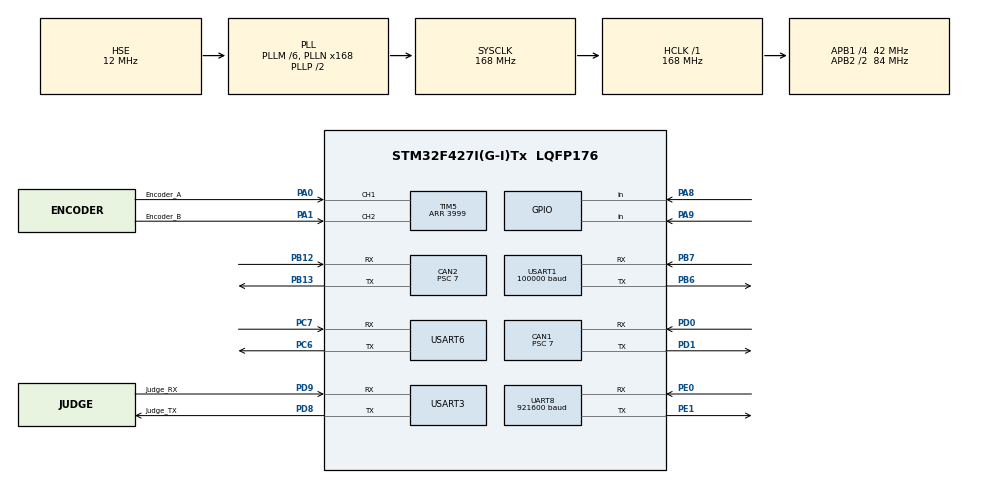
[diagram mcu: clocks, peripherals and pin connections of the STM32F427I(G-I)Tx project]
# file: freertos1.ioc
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CAN1.ABOM=ENABLE
CAN1.AWUM=ENABLE
CAN1.BS1=CAN_BS1_3TQ
CAN1.BS2=CAN_BS2_2TQ
CAN1.CalculateTimeQuantum=166.66666666666669
CAN1.NART=ENABLE
CAN1.Prescaler=7
CAN2.ABOM=ENABLE
CAN2.AWUM=ENABLE
CAN2.BS1=CAN_BS1_3TQ
CAN2.BS2=CAN_BS2_2TQ
CAN2.CalculateTimeQuantum=166.66666666666669
CAN2.NART=ENABLE
CAN2.Prescaler=7
Dma.Request0=USART6_RX
Dma.Request1=USART6_TX
Dma.Request2=USART1_RX
Dma.Request3=UART8_RX
Dma.Request4=USART3_RX
Dma.UART8_RX.3.Direction=DMA_PERIPH_TO_MEMORY
Dma.UART8_RX.3.FIFOMode=DMA_FIFOMODE_DISABLE
Dma.UART8_RX.3.Instance=DMA1_Stream6
Dma.UART8_RX.3.MemDataAlignment=DMA_MDATAALIGN_BYTE
Dma.UART8_RX.3.MemInc=DMA_MINC_ENABLE
Dma.UART8_RX.3.Mode=DMA_CIRCULAR
Dma.UART8_RX.3.PeriphDataAlignment=DMA_PDATAALIGN_BYTE
Dma.UART8_RX.3.PeriphInc=DMA_PINC_DISABLE
Dma.UART8_RX.3.Priority=DMA_PRIORITY_MEDIUM
Dma.USART1_RX.2.Direction=DMA_PERIPH_TO_MEMORY
Dma.USART1_RX.2.FIFOMode=DMA_FIFOMODE_DISABLE
Dma.USART1_RX.2.Instance=DMA2_Stream2
Dma.USART1_RX.2.MemDataAlignment=DMA_MDATAALIGN_BYTE
Dma.USART1_RX.2.MemInc=DMA_MINC_ENABLE
Dma.USART1_RX.2.Mode=DMA_CIRCULAR
Dma.USART1_RX.2.PeriphDataAlignment=DMA_PDATAALIGN_BYTE
Dma.USART1_RX.2.PeriphInc=DMA_PINC_DISABLE
Dma.USART1_RX.2.Priority=DMA_PRIORITY_HIGH
Dma.USART3_RX.4.Direction=DMA_PERIPH_TO_MEMORY
Dma.USART3_RX.4.FIFOMode=DMA_FIFOMODE_DISABLE
Dma.USART3_RX.4.Instance=DMA1_Stream1
Dma.USART3_RX.4.MemDataAlignment=DMA_MDATAALIGN_BYTE
Dma.USART3_RX.4.MemInc=DMA_MINC_ENABLE
Dma.USART3_RX.4.Mode=DMA_CIRCULAR
Dma.USART3_RX.4.PeriphDataAlignment=DMA_PDATAALIGN_BYTE
Dma.USART3_RX.4.PeriphInc=DMA_PINC_DISABLE
Dma.USART3_RX.4.Priority=DMA_PRIORITY_LOW
Dma.USART6_RX.0.Direction=DMA_PERIPH_TO_MEMORY
Dma.USART6_RX.0.FIFOMode=DMA_FIFOMODE_DISABLE
Dma.USART6_RX.0.Instance=DMA2_Stream1
Dma.USART6_RX.0.MemDataAlignment=DMA_MDATAALIGN_BYTE
Dma.USART6_RX.0.MemInc=DMA_MINC_ENABLE
Dma.USART6_RX.0.Mode=DMA_NORMAL
Dma.USART6_RX.0.PeriphDataAlignment=DMA_PDATAALIGN_BYTE
Dma.USART6_RX.0.PeriphInc=DMA_PINC_DISABLE
Dma.USART6_RX.0.Priority=DMA_PRIORITY_VERY_HIGH
Dma.USART6_TX.1.Direction=DMA_MEMORY_TO_PERIPH
Dma.USART6_TX.1.FIFOMode=DMA_FIFOMODE_DISABLE
Dma.USART6_TX.1.Instance=DMA2_Stream6
Dma.USART6_TX.1.MemDataAlignment=DMA_MDATAALIGN_BYTE
Dma.USART6_TX.1.MemInc=DMA_MINC_ENABLE
Dma.USART6_TX.1.Mode=DMA_NORMAL
Dma.USART6_TX.1.PeriphDataAlignment=DMA_PDATAALIGN_BYTE
Dma.USART6_TX.1.PeriphInc=DMA_PINC_DISABLE
Dma.USART6_TX.1.Priority=DMA_PRIORITY_LOW
FREERTOS.INCLUDE_vTaskDelayUntil=1
FREERTOS.Tasks01=defaultTask,-3,128,StartDefaultTask,Default,NULL,Dynamic,NULL,NULL;MYTask03,1,128,CAN1_recive,Default,NULL,Dynamic,NULL,NULL;myTask04,0,128,DeBug,Default,NULL,Dynamic,NULL,NULL;myTaskforinit,-1,128,init_task,Default,NULL,Dynamic,NULL,NULL;Task_Can2_Reive,1,256,Can2_Reive,Default,NULL,Dynamic,NULL,NULL
Mcu.Family=STM32F4
Mcu.Name=STM32F427I(G-I)Tx
Mcu.Package=LQFP176
NVIC.CAN1_RX0_IRQn=true\:6\:0\:true\:false\:true\:true\:true\:true
NVIC.CAN2_RX0_IRQn=true\:6\:0\:true\:false\:true\:true\:true\:true
NVIC.DMA1_Stream1_IRQn=true\:0\:0\:false\:false\:true\:true\:false\:true
NVIC.DMA1_Stream6_IRQn=true\:0\:0\:false\:false\:true\:true\:false\:true
NVIC.DMA2_Stream1_IRQn=true\:0\:0\:false\:false\:true\:true\:false\:true
NVIC.DMA2_Stream2_IRQn=true\:0\:0\:false\:false\:true\:true\:false\:true
NVIC.DMA2_Stream6_IRQn=true\:0\:0\:false\:false\:true\:true\:false\:true
NVIC.PriorityGroup=NVIC_PRIORITYGROUP_4
NVIC.TIM3_IRQn=true\:7\:0\:true\:false\:true\:true\:true\:true
NVIC.TIM6_DAC_IRQn=true\:0\:0\:false\:false\:true\:false\:false\:true
NVIC.TIM7_IRQn=true\:6\:0\:true\:false\:true\:true\:true\:true
NVIC.TimeBase=TIM6_DAC_IRQn
NVIC.TimeBaseIP=TIM6
NVIC.UART8_IRQn=true\:7\:0\:true\:false\:true\:true\:true\:true
NVIC.USART1_IRQn=true\:7\:0\:true\:false\:true\:true\:true\:true
NVIC.USART3_IRQn=true\:7\:0\:true\:false\:true\:true\:true\:true
NVIC.USART6_IRQn=true\:6\:0\:true\:false\:true\:true\:true\:true
PA0/WKUP.GPIO_Label=Encoder_A
PA0/WKUP.GPIO_ModeDefaultPP=GPIO_MODE_AF_PP
PA0/WKUP.GPIO_PuPd=GPIO_PULLUP
PA0/WKUP.GPIO_Speed=GPIO_SPEED_FREQ_HIGH
PA0/WKUP.Signal=S_TIM5_CH1
PA1.GPIO_Label=Encoder_B
PA1.GPIO_ModeDefaultPP=GPIO_MODE_AF_PP
PA1.GPIO_PuPd=GPIO_PULLUP
PA1.GPIO_Speed=GPIO_SPEED_FREQ_HIGH
PA1.Signal=S_TIM5_CH2
PA13.Mode=Serial_Wire
PA13.Signal=SYS_JTMS-SWDIO
PA14.Mode=Serial_Wire
PA14.Signal=SYS_JTCK-SWCLK
PA8.GPIO_Mode=GPIO_MODE_INPUT
PA8.GPIO_PuPd=GPIO_PULLUP
PA8.Signal=GPIO_Input
PA9.GPIO_Mode=GPIO_MODE_INPUT
PA9.GPIO_PuPd=GPIO_PULLUP
PA9.Signal=GPIO_Input
PB12.Mode=Slave
PB12.Signal=CAN2_RX
PB13.Mode=Slave
PB13.Signal=CAN2_TX
PB6.GPIO_ModeDefaultPP=GPIO_MODE_AF_PP
PB6.GPIO_PuPd=GPIO_NOPULL
PB6.GPIO_Speed=GPIO_SPEED_FREQ_VERY_HIGH
PB6.Mode=Asynchronous
PB6.Signal=USART1_TX
PB7.GPIO_ModeDefaultPP=GPIO_MODE_AF_PP
PB7.GPIO_PuPd=GPIO_NOPULL
PB7.GPIO_Speed=GPIO_SPEED_FREQ_VERY_HIGH
PB7.Mode=Asynchronous
PB7.Signal=USART1_RX
PC6.Mode=Asynchronous
PC6.Signal=USART6_TX
PC7.Mode=Asynchronous
PC7.Signal=USART6_RX
PD0.Mode=Master
PD0.Signal=CAN1_RX
PD1.Mode=Master
PD1.Signal=CAN1_TX
PD8.GPIO_Label=Judge_TX
PD8.Mode=Asynchronous
PD8.Signal=USART3_TX
PD9.GPIO_Label=Judge_RX
PD9.Mode=Asynchronous
PD9.Signal=USART3_RX
PE0.Mode=Asynchronous
PE0.Signal=UART8_RX
PE1.Mode=Asynchronous
PE1.Signal=UART8_TX
PH0/OSC_IN.Mode=HSE-External-Oscillator
PH0/OSC_IN.Signal=RCC_OSC_IN
PH1/OSC_OUT.Mode=HSE-External-Oscillator
PH1/OSC_OUT.Signal=RCC_OSC_OUT
ProjectManager.HeapSize=0x2000
ProjectManager.StackSize=0x2000
ProjectManager.TargetToolchain=MDK-ARM V5.27
RCC.48MHZClocksFreq_Value=48000000
RCC.AHBFreq_Value=168000000
RCC.APB1CLKDivider=RCC_HCLK_DIV4
RCC.APB1Freq_Value=42000000
RCC.APB1TimFreq_Value=84000000
RCC.APB2CLKDivider=RCC_HCLK_DIV2
RCC.APB2Freq_Value=84000000
RCC.APB2TimFreq_Value=168000000
RCC.CortexFreq_Value=168000000
RCC.HCLKFreq_Value=168000000
RCC.HSE_VALUE=12000000
RCC.HSI_VALUE=16000000
RCC.LSE_VALUE=32768
RCC.PLLM=6
RCC.PLLN=168
RCC.PLLQ=7
RCC.PLLSourceVirtual=RCC_PLLSOURCE_HSE
RCC.SYSCLKFreq_VALUE=168000000
RCC.SYSCLKSource=RCC_SYSCLKSOURCE_PLLCLK
RCC.VCOOutputFreq_Value=336000000
SH.S_TIM5_CH1.0=TIM5_CH1,Encoder_Interface
SH.S_TIM5_CH2.0=TIM5_CH2,Encoder_Interface
TIM3.AutoReloadPreload=TIM_AUTORELOAD_PRELOAD_ENABLE
TIM3.Period=49
TIM3.Prescaler=83
TIM5.EncoderMode=TIM_ENCODERMODE_TI12
TIM5.Period=3999
TIM7.AutoReloadPreload=TIM_AUTORELOAD_PRELOAD_ENABLE
TIM7.Period=999
TIM7.Prescaler=83
UART8.BaudRate=921600
UART8.VirtualMode=Asynchronous
USART1.BaudRate=100000
USART1.VirtualMode=VM_ASYNC
USART3.VirtualMode=VM_ASYNC
USART6.VirtualMode=VM_ASYNC
VP_FREERTOS_VS_CMSIS_V1.Mode=CMSIS_V1
VP_RNG_VS_RNG.Mode=RNG_Activate
VP_SYS_VS_tim6.Mode=TIM6
VP_TIM3_VS_ClockSourceINT.Mode=Internal
VP_TIM7_VS_ClockSourceINT.Mode=Enable_Timer
board=custom

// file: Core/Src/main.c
/* USER CODE BEGIN Header */
/**       Code is far away from bug with the animal protecting
 *          .,:,,,                                        .::,,,::.
 *        .::::,,;;,                                  .,;;:,,....:i:
 *        :i,.::::,;i:.      ....,,:::::::::,....   .;i:,.  ......;i.
 *        :;..:::;::::i;,,:::;:,,,,,,,,,,..,.,,:::iri:. .,:irsr:,.;i.
 *        ;;..,::::;;;;ri,,,.                    ..,,:;s1s1ssrr;,.;r,
 *        :;. ,::;ii;:,     . ...................     .;iirri;;;,,;i,
 *        ,i. .;ri:.   ... ............................  .,,:;:,,,;i:
 *        :s,.;r:... ....................................... .::;::s;
 *        ,1r::. .............,,,.,,:,,........................,;iir;
 *        ,s;...........     ..::.,;:,,.          ...............,;1s
 *       :i,..,.              .,:,,::,.          .......... .......;1,
 *      ir,....:rrssr;:,       ,,.,::.     .r5S9989398G95hr;. ....,.:s,
 *     ;r,..,s9855513XHAG3i   .,,,,,,,.  ,S931,.,,.;s;s&BHHA8s.,..,..:r:
 *    :r;..rGGh,  :SAG;;G@BS:.,,,,,,,,,.r83:      hHH1sXMBHHHM3..,,,,.ir.
 *   ,si,.1GS,   sBMAAX&MBMB5,,,,,,:,,.:&8       3@HXHBMBHBBH#X,.,,,,,,rr
 *   ;1:,,SH:   .A@&&B#&8H#BS,,,,,,,,,.,5XS,     3@MHABM&59M#As..,,,,:,is,
 *  .rr,,,;9&1   hBHHBB&8AMGr,,,,,,,,,,,:h&&9s;   r9&BMHBHMB9:  . .,,,,;ri.
 *  :1:....:5&XSi;r8BMBHHA9r:,......,,,,:ii19GG88899XHHH&GSr.      ...,:rs.
 *  ;s.     .:sS8G8GG889hi.        ....,,:;:,.:irssrriii:,.        ...,,i1,
 *  ;1,         ..,....,,isssi;,        .,,.                      ....,.i1,
 *  ;h:               i9HHBMBBHAX9:         .                     ...,,,rs,
 *  ,1i..            :A#MBBBBMHB##s                             ....,,,;si.
 *  .r1,..        ,..;3BMBBBHBB#Bh.     ..                    ....,,,,,i1;
 *   :h;..       .,..;,1XBMMMMBXs,.,, .. :: ,.               ....,,,,,,ss.
 *    ih: ..    .;;;, ;;:s58A3i,..    ,. ,.:,,.             ...,,,,,:,s1,
 *    .s1,....   .,;sh,  ,iSAXs;.    ,.  ,,.i85            ...,,,,,,:i1;
 *     .rh: ...     rXG9XBBM#M#MHAX3hss13&&HHXr         .....,,,,,,,ih;
 *      .s5: .....    i598X&&A&AAAAAA&XG851r:       ........,,,,:,,sh;
 *      . ihr, ...  .         ..                    ........,,,,,;11:.
 *         ,s1i. ...  ..,,,..,,,.,,.,,.,..       ........,,.,,.;s5i.
 *          .:s1r,......................       ..............;shs,
 *          . .:shr:.  ....                 ..............,ishs.
 *              .,issr;,... ...........................,is1s;.
 *                 .,is1si;:,....................,:;ir1sr;,
 *                    ..:isssssrrii;::::::;;iirsssssr;:..
 *                         .,::iiirsssssssssrri;;:.
 *		Code is far away from bug with the animal protecting
 *						神兽保佑，代码永无BUG
 */

/**
  ******************************************************************************
  * @file           : main.c
  * @brief          : Main program body
  ******************************************************************************
  * @attention
  *
  * <h2><center>&copy; Copyright (c) 2021 STMicroelectronics.
  * All rights reserved.</center></h2>
  *
  * This software component is licensed by ST under Ultimate Liberty license
  * SLA0044, the "License"; You may not use this file except in compliance with
  * the License. You may obtain a copy of the License at:
  *                             www.st.com/SLA0044
  *
  ******************************************************************************
  */
/* USER CODE END Header */
#include "main.h"
#include "cmsis_os.h"
#include "can.h"
#include "dma.h"
#include "rng.h"
#include "tim.h"
#include "usart.h"
#include "gpio.h"

/* USER CODE BEGIN Includes */
#include "DR16_RECIVE.h"
#include "my_positionPID_bate.h"
#include "FPS_Calculate.h"

/* USER CODE END Includes */

void SystemClock_Config(void);
void MX_FREERTOS_Init(void);

/* USER CODE BEGIN 0 */
//uint32_t time_every100us=0;
int time_every1s=0;
uint32_t time_every100ms=0;

//uint32_t task2_times=0;
//uint32_t task3_times=0;
//uint32_t pendsv_times=0;
//uint32_t sysclk_to_pendsv=0;
//int guance1;
//int guance2;
uint32_t zdcsjc=0;//can接收次数
uint32_t time7_times=0;//定时器7中断进入次数
uint32_t task_init_times=0;//初始化任务运行次数
uint32_t task_can_times=0;//CAN接收任务运行次数
uint32_t task_can2_times=0;//CAN2接收任务运行次数

uint32_t task_debug_times=0;//上位机发送任务运行次数
uint32_t task_controul_times=0;//总控制任务运行次数
int every_1s_times=0;//方便计算

float yaw_trage_angle=0;
float yaw_trage_angle2;

float yaw_trage_speed=0;
float PITCH_trage_angle=0;
float PITCH_trage_angle_2=0;

int PITCH_trage_speed=0;
int CHASSIS_trage_speed=0;
int CHASSIS_trage_angle=0;

float PITCH_MAX_angle=0;
float PITCH_MIN_angle=0;

int CHASSIS_MAX_SPEED=9000;

int send_to_yaw=0;//发送给yaw轴的数据
int send_to_pitch=0;//发送给pitch轴的数据
int send_to_chassis=0;//发送给底盘的数据
int send_to_SHOOT_R=0;//发送给右发射摩擦轮的数据  +
int send_to_SHOOT_L=0;//发送给左发射摩擦轮的数据  -
int send_to_driver=0;//发送给拨盘电机的数据

float PITCH_IMU_Kp=1;

int M_3508_error=0;

int SHOOT_L=0;//左摩擦轮的目标速度   应该为负值
int SHOOT_R=0;//右摩擦轮的目标速度

bool HWswitch_R=1;
bool HWswitch_L=1;

bool HWswitch_R_last=1;
bool HWswitch_L_last=1;

int CHASSIS_L_MAX=510000;
int CHASSIS_R_MIN=0;

int ENCODER_L_MAX=510000;//编码器通过光电更新的最大值
int ENCODER_R_MIN=0;	//编码器通过光电更新的最小值
int ENCODER_M_MID=250000;//编码器通过光电更新的中间值

int ENCODER_ARRIVE_MAX=0;//编码器抵达的最大值
int ENCODER_ARRIVE_MIN=0;//编码器抵达的最小值

int speed_change=0;
int CHASSIS_MID=250000;

int driver_targe_speed=0;

short int speed_change_times=0;

float DEBUFF=0;

int uart_8_times=0;
int uart_3_times=0;

int time_3_times=0;

float Vision_RawData_Yaw_Angle=0;
float Vision_RawData_Pitch_Angle=0;

bool send_to_C;
int send_to_C_times;

int CH_TOTAL=0;
float Chassis_PowerLimit=1;
bool stop_chassic_output=0;
bool stop_CH_OP_BC_END=0;
int stop_CH_OP_BC_END_times=0;
bool stop_CH_OP_BC_LESS=0;
int stop_CH_OP_BC_LESS_times=0;

//driver  plate
/* USER CODE END 0 */

int main(void)
{

  /* MCU Configuration--------------------------------------------------------*/

  /* Reset of all peripherals, Initializes the Flash interface and the Systick. */
  HAL_Init();

  /* Configure the system clock */
  SystemClock_Config();

  /* Initialize all configured peripherals */
  MX_GPIO_Init();
  MX_DMA_Init();
  MX_USART6_UART_Init();
  MX_TIM7_Init();
  MX_CAN1_Init();
  MX_USART1_UART_Init();
  MX_CAN2_Init();
  MX_RNG_Init();
  MX_TIM5_Init();
  MX_UART8_Init();
  MX_TIM3_Init();
  MX_USART3_UART_Init();
  /* USER CODE BEGIN 2 */
   usart1_dr16_init();

//USART6->DR = '2';
    /*使能定时器1中断*/
    HAL_TIM_Base_Start_IT(&htim7);
    HAL_TIM_Base_Start_IT(&htim3);

  /* USER CODE END 2 */

  /* Call init function for freertos objects (in freertos.c) */
  MX_FREERTOS_Init();
  /* Start scheduler */
  osKernelStart();

  /* We should never get here as control is now taken by the scheduler */
  /* Infinite loop */
  while (1)
  {

    /* USER CODE BEGIN 3 */

//	  	   NM_swj();
//	  osdelay();
	  HAL_Delay(1);
//	  NM_swj2();
	  	  HAL_Delay(1);
  }
  /* USER CODE END 3 */
}

void SystemClock_Config(void)
{
  RCC_OscInitTypeDef RCC_OscInitStruct = {0};
  RCC_ClkInitTypeDef RCC_ClkInitStruct = {0};

  /** Configure the main internal regulator output voltage
  */
  __HAL_RCC_PWR_CLK_ENABLE();
  __HAL_PWR_VOLTAGESCALING_CONFIG(PWR_REGULATOR_VOLTAGE_SCALE1);
  /** Initializes the RCC Oscillators according to the specified parameters
  * in the RCC_OscInitTypeDef structure.
  */
  RCC_OscInitStruct.OscillatorType = RCC_OSCILLATORTYPE_HSE;
  RCC_OscInitStruct.HSEState = RCC_HSE_ON;
  RCC_OscInitStruct.PLL.PLLState = RCC_PLL_ON;
  RCC_OscInitStruct.PLL.PLLSource = RCC_PLLSOURCE_HSE;
  RCC_OscInitStruct.PLL.PLLM = 6;
  RCC_OscInitStruct.PLL.PLLN = 168;
  RCC_OscInitStruct.PLL.PLLP = RCC_PLLP_DIV2;
  RCC_OscInitStruct.PLL.PLLQ = 7;
  if (HAL_RCC_OscConfig(&RCC_OscInitStruct) != HAL_OK)
  {
    Error_Handler();
  }
  /** Initializes the CPU, AHB and APB buses clocks
  */
  RCC_ClkInitStruct.ClockType = RCC_CLOCKTYPE_HCLK|RCC_CLOCKTYPE_SYSCLK
                              |RCC_CLOCKTYPE_PCLK1|RCC_CLOCKTYPE_PCLK2;
  RCC_ClkInitStruct.SYSCLKSource = RCC_SYSCLKSOURCE_PLLCLK;
  RCC_ClkInitStruct.AHBCLKDivider = RCC_SYSCLK_DIV1;
  RCC_ClkInitStruct.APB1CLKDivider = RCC_HCLK_DIV4;
  RCC_ClkInitStruct.APB2CLKDivider = RCC_HCLK_DIV2;

  if (HAL_RCC_ClockConfig(&RCC_ClkInitStruct, FLASH_LATENCY_5) != HAL_OK)
  {
    Error_Handler();
  }
}

/* USER CODE BEGIN 4 */

//  uint32_t wait;
//uint32_t tickstart;
int my_ms_delay1(uint32_t ms_Delay)
	//ms_Delay=100
{
//	   tickstart = MY_GetTick();
//   wait = time_every100us+10*ms_Delay;

  /* Add a freq to guarantee minimum wait */
//  if (wait < HAL_MAX_DELAY)
//  {
//    wait += (uint32_t)(uwTickFreq);
//  }

  while(1)
  {
//	 if( time_every100us> wait)
//	 {
//		 	  guance1=time_every100us- wait;
//		 return 0;
//	 }
//	 	  guance2=guance1;
  }

}

void my_ms_delay2(uint32_t ms_Delay2)
	//ms_Delay=100
{
//	  uint32_t tickstart2 = time_every100us;
//  uint32_t wait2 = ms_Delay2*10;

  /* Add a freq to guarantee minimum wait */
//  if (wait < HAL_MAX_DELAY)
//  {
//    wait += (uint32_t)(uwTickFreq);
//  }

//  while((MY_GetTick() - tickstart2) < wait2)
//  {
//  }

}

uint32_t MY_GetTick(void)
{
//  return time_every100us;
	  return 1000;

}

/* USER CODE END 4 */

void HAL_TIM_PeriodElapsedCallback(TIM_HandleTypeDef *htim)
{
  if (htim->Instance == TIM6) {
    HAL_IncTick();
  }
}

void Error_Handler(void)
{
}

/************************ (C) COPYRIGHT STMicroelectronics *****END OF FILE****/

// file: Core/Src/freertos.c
/* USER CODE BEGIN Header */
/**
 ******************************************************************************
 * File Name          : freertos.c
 * Description        : Code for freertos applications
 ******************************************************************************
 * @attention
 *
 * <h2><center>&copy; Copyright (c) 2021 STMicroelectronics.
 * All rights reserved.</center></h2>
 *
 * This software component is licensed by ST under Ultimate Liberty license
 * SLA0044, the "License"; You may not use this file except in compliance with
 * the License. You may obtain a copy of the License at:
 *                             www.st.com/SLA0044
 *
 ******************************************************************************
 */
/* USER CODE END Header */

#include "FreeRTOS.h"
#include "task.h"
#include "main.h"
#include "cmsis_os.h"

/* USER CODE BEGIN Includes */
#include "DR16_RECIVE.h"
#include "usart.h"
#include "BSP_CAN.h"
#include "GM6020.h"
#include "my_positionPID_bate.h"
#include "DJI_C_IMU.h"
#include "M3508.h"
#include "MY_CLOUD_CONTROL.h"
#include "MY_CHASSIS_CONTROL.h"
#include "my_IncrementPID_bate.h"
#include "tim.h"
#include "M2006.h"
#include "MY_SHOOT_CONTROL.h"
#include "Vision.h"
#include "user_UART.h"
#include "FPS_Calculate.h"
#include "User_math.h"
#include "RM_JudgeSystem.h"
#include "DR16_CAN2_SEND.h"
#include "CHASSIS_CONTROL_basic.h"
#include "CHASSIS_CONTROL_2.h"

//#include "task.h"

/* USER CODE END Includes */

/* USER CODE BEGIN Variables */
osMessageQId CAN1_Queue;
osMessageQId CAN2_Queue;
//控制任务句柄
osThreadId RobotCtrl_Handle;
//任务入口函数
void Robot_Control(void const *argument);
/* USER CODE END Variables */
osThreadId defaultTaskHandle;
osThreadId MYTask03Handle;
osThreadId myTask04Handle;
osThreadId myTaskforinitHandle;
osThreadId Task_Can2_ReiveHandle;

void StartDefaultTask(void const * argument);
void CAN1_recive(void const * argument);
void DeBug(void const * argument);
void init_task(void const * argument);
void Can2_Reive(void const * argument);

void MX_FREERTOS_Init(void); /* (MISRA C 2004 rule 8.1) */

/* GetIdleTaskMemory prototype (linked to static allocation support) */
void vApplicationGetIdleTaskMemory( StaticTask_t **ppxIdleTaskTCBBuffer, StackType_t **ppxIdleTaskStackBuffer, uint32_t *pulIdleTaskStackSize );

/* USER CODE BEGIN GET_IDLE_TASK_MEMORY */
static StaticTask_t xIdleTaskTCBBuffer;
static StackType_t xIdleStack[configMINIMAL_STACK_SIZE];

void vApplicationGetIdleTaskMemory(StaticTask_t **ppxIdleTaskTCBBuffer, StackType_t **ppxIdleTaskStackBuffer, uint32_t *pulIdleTaskStackSize)
{
	*ppxIdleTaskTCBBuffer = &xIdleTaskTCBBuffer;
	*ppxIdleTaskStackBuffer = &xIdleStack[0];
	*pulIdleTaskStackSize = configMINIMAL_STACK_SIZE;
	/* place for user code */
}
/* USER CODE END GET_IDLE_TASK_MEMORY */

void MX_FREERTOS_Init(void) {

  /* USER CODE BEGIN RTOS_QUEUES */
	/* add queues, ... */
	CAN1_Queue = xQueueCreate(32, sizeof(CAN_Rx_TypeDef));
	CAN2_Queue = xQueueCreate(32, sizeof(CAN_Rx_TypeDef));
  /* USER CODE END RTOS_QUEUES */

  /* Create the thread(s) */
  /* definition and creation of defaultTask */
  osThreadDef(defaultTask, StartDefaultTask, osPriorityIdle, 0, 128);
  defaultTaskHandle = osThreadCreate(osThread(defaultTask), NULL);

  /* definition and creation of MYTask03 */
  osThreadDef(MYTask03, CAN1_recive, osPriorityAboveNormal, 0, 128);
  MYTask03Handle = osThreadCreate(osThread(MYTask03), NULL);

  /* definition and creation of myTask04 */
  osThreadDef(myTask04, DeBug, osPriorityNormal, 0, 128);
  myTask04Handle = osThreadCreate(osThread(myTask04), NULL);

  /* definition and creation of myTaskforinit */
  osThreadDef(myTaskforinit, init_task, osPriorityBelowNormal, 0, 128);
  myTaskforinitHandle = osThreadCreate(osThread(myTaskforinit), NULL);

  /* definition and creation of Task_Can2_Reive */
  osThreadDef(Task_Can2_Reive, Can2_Reive, osPriorityAboveNormal, 0, 256);
  Task_Can2_ReiveHandle = osThreadCreate(osThread(Task_Can2_Reive), NULL);

  /* USER CODE BEGIN RTOS_THREADS */
	/* add threads, ...
  defaultTask    	245		<1%
  Task_Robot_Cont	1580		1%
  Task_Can2_Reive	4325		4%   CAN2
  MYTask03       	7604		7%   CAN1
  myTask04       	1385		1%   DEBUG
  IDLE           	80866		81%  */
  /* USER CODE END RTOS_THREADS */

}

void StartDefaultTask(void const * argument)
{
	for (;;)
	{
		osDelay(1);
	}
}

/* USER CODE BEGIN Header_CAN1_recive */
/**
 * @brief Function implementing the MYTask03 thread.
 * @param argument: Not used
 * @retval None
 */
int last_turnCount = 0;
/* USER CODE END Header_CAN1_recive */
void CAN1_recive(void const * argument)
{
  /* USER CODE BEGIN CAN1_recive */
	// CAN1接收队列发送的数据的结构体变量
	CAN_Rx_TypeDef CAN1_Rx_Structure;
	task_can_times++;

	//出队的状态变量
	BaseType_t ExitQueue_Status;
	/* Infinite loop */
	for (;;)
	{
		task_can_times++;
		//死等队列有消息
		ExitQueue_Status = xQueueReceive(CAN1_Queue, &CAN1_Rx_Structure, portMAX_DELAY);
		//出队成功
		if (ExitQueue_Status == pdTRUE)
		{
			/*Cloud*/
			if (CAN1_Rx_Structure.CAN_RxMessage.StdId == GM6020_READID_START)
			{
				//云台的yaw轴
				GM6020_Yaw_getInfo(CAN1_Rx_Structure);
			}

			if (CAN1_Rx_Structure.CAN_RxMessage.StdId == (GM6020_READID_START + 1))
			{
				//云台的yaw轴
				GM6020_Pitch_getInfo(CAN1_Rx_Structure); // 6400-7160
			}
			if (CAN1_Rx_Structure.CAN_RxMessage.StdId == M3508_READID_END)
			{
				//底盘电机
				M3508_getInfo(CAN1_Rx_Structure); // 6400-7160
#if 0
				if(M3508s[3].realSpeed>900||M3508s[3].realSpeed<-900)//在运动中
				{
						if(M3508s[3].realSpeed>1000)//正向运动
						{
								if(	last_turnCount==M3508s[3].turnCount)
								{//同一圈之内
										if(M3508s[3].realSpeed<=M3508s[3].last_angle)
										{
											M_3508_error++;
										}
								}
						}
						if(M3508s[3].realSpeed<-1000)//反向运动
						{
								if(	last_turnCount==M3508s[3].turnCount)
								{//同一圈之内
										if(M3508s[3].realSpeed>=M3508s[3].last_angle)
										{
											M_3508_error++;
										}
								}
						}

				}

									last_turnCount=M3508s[3].turnCount;

#endif
			}
			if (CAN1_Rx_Structure.CAN_RxMessage.StdId == (M3508_READID_START))
			{
				//左摩擦轮的    ID1
				M3508s1_getInfo(CAN1_Rx_Structure); //
			}
			if (CAN1_Rx_Structure.CAN_RxMessage.StdId == (M3508_READID_START + 1))
			{
				//右摩擦轮的	ID2
				M3508s1_getInfo(CAN1_Rx_Structure); //
			}
			if (CAN1_Rx_Structure.CAN_RxMessage.StdId == (M3508_READID_START + 2))
			{
				//拨盘电机		ID3
				M2006_getInfo(CAN1_Rx_Structure); //
			}
		}

		// osDelay(1);
	}
  /* USER CODE END CAN1_recive */
}

/* USER CODE BEGIN Header_DeBug */
/**
 * @brief Function implementing the myTask04 thread.
 * @param argument: Not used
 * @retval None
 */
char RunTimeInfo[400]; //保存任务运行时间信息
uint16_t times_i;
/* USER CODE END Header_DeBug */
void DeBug(void const * argument)
{
  /* USER CODE BEGIN DeBug */
	/* Infinite loop */
	for (;;)
	{

		task_debug_times++;

//		Update_Vision_SendData();
		if (send_to_C == 1)
		{
			DR16_send_master_control();
			send_to_C_times++;
			send_to_C = 0;
		}
		if (send_to_C_JS == 1)
		{
JS_send_control();
			JS_SEND_times++;
			send_to_C_JS=0;
		}

		if (DR16.rc.s_right == 3) //是否上位机
		{

			times_i++;
			if (times_i > 4) // 5ms发一次
			{
					  	   NM_swj();
				times_i = 0;
			}
		}
		/*
	  //memset(RunTimeInfo,0,400);				//信息缓冲区清零

		  vTaskGetRunTimeStats(RunTimeInfo);		//获取任务运行时间信息
		HAL_UART_Transmit_DMA(&huart6, (uint8_t *)&RunTimeInfo, 400);

		*/
		//	  HAL_UART_Transmit(&huart6, (uint8_t *)&RunTimeInfo, 400, 0xFFFF);
		//		  for (uint16_t i = 0; i < 400; i++)
		//	{
		//		while ((UART6->SR & 0X40) == 0);
		//		UART6->DR = RunTimeInfo[i];
		//	}

		//			printf("任务名\t\t\t运行时间\t运行所占百分比\r\n");
		//			printf("%s\r\n",RunTimeInfo);
		osDelay(1);
	}
  /* USER CODE END DeBug */
}

void init_task(void const * argument)
{
  /* USER CODE BEGIN init_task */

	portTickType xLastWakeTime;
	xLastWakeTime = xTaskGetTickCount();
	const TickType_t TimeIncrement = pdMS_TO_TICKS(2); //每十毫秒强制进入总控制

	// DJIC_IMU.last_pitch=0;
	//	taskENTER_CRITICAL(); //进入临界区
	CAN1_Config();
	CAN2_Config();
	//编码器模式初始化
	// AB
	HAL_TIM_Encoder_Start(&htim5, TIM_CHANNEL_ALL);
	//	HAL_Delay(1000);

	//视觉
	__HAL_UART_CLEAR_IDLEFLAG(&huart8);

	__HAL_UART_ENABLE_IT(&huart8, UART_IT_IDLE);

	USART_RX_DMA_ENABLE(&huart8, Vision_DataBuff, Vision_BuffSize);

	//裁判系统
	__HAL_UART_CLEAR_IDLEFLAG(&huart3);

	__HAL_UART_ENABLE_IT(&huart3, UART_IT_IDLE);

	USART_RX_DMA_ENABLE(&huart3, JudgeSystem_rxBuff, JUDGESYSTEM_PACKSIZE);

	/*
	CAN1_Filter0_Init();
		HAL_CAN_Start(&hcan1);
	__HAL_CAN_ENABLE_IT(&hcan1, CAN_IT_RX_FIFO0_MSG_PENDING);
	*/
	/*PID参数初始化*/
#if PID_MOTOR //是否开启电机的PID
	P_PID_Parameter_Init(&Yaw_Speed_pid, 550, 10, 0,
						 120, //误差大于这个值就积分分离
						 //	float max_error, float min_error,
						 //                          float alpha,
						 2000, -2000, //积分限幅，也就是积分的输出范围
						 29000, -29000);
	P_PID_Parameter_Init(&Yaw_Angle_pid, 0.03, 0, 0,
						 0,
						 //						  float max_error, float min_error,
						 //                          float alpha,
						 0, 0,
						 220, -220); //

#endif

#if PID_IMU
	P_PID_Parameter_Init(&Yaw_IMU_Speed_pid, 500, 6, 0,
						 120, //误差大于这个值就积分分离
						 //	float max_error, float min_error,
						 //                          float alpha,
						 5000, -5000, //积分限幅，也就是积分的输出范围
						 28000, -28000);
	P_PID_Parameter_Init(&Yaw_IMU_Angle_pid, -11, 0, 0,
						 0,
						 //						  float max_error, float min_error,
						 //                          float alpha,
						 0, 0,
						 500, -500); // Yaw_IMU_Angle_pid
#endif

#if PID_PITCH_MOTOR
	P_PID_Parameter_Init(&PITCH_Angle_pid, 1, 0, 0,
						 0, //误差大于这个值就积分分离
						 //	float max_error, float min_error,
						 //                          float alpha,
						 220, -220, //积分限幅，也就是积分的输出范围
						 220, -220);
	P_PID_Parameter_Init(&PITCH_Speed_pid, 300, 1, 0,
						 120,
						 //						  float max_error, float min_error,
						 //                          float alpha,
						 10000, -10000,	 //积分限幅，也就是积分的输出范围
						 29000, -29000); // Yaw_IMU_Angle_pid
#endif

#if PID_PITCH_IMU
	P_PID_Parameter_Init(&PITCH_IMU_Speed_pid, 200, 1, 0,
						 120, //误差大于这个值就积分分离
						 //	float max_error, float min_error,
						 //                          float alpha,
						 5000, -5000, //积分限幅，也就是积分的输出范围
						 28000, -28000);
	P_PID_Parameter_Init(&PITCH_IMU_Angle_pid, 10, 0, 0,
						 0,
						 //						  float max_error, float min_error,
						 //                          float alpha,
						 0, 0,
						 500, -500); // Yaw_IMU_Angle_pid

#endif

#if PID_CHASSIS_MOTOR
	P_PID_Parameter_Init(&CHASSIS_MOTOR_ANGLE_pid, 5, 0, 0,
						 10, //误差大于这个值就积分分离
						 //	float max_error, float min_error,
						 //                          float alpha,
						 50, -50, //积分限幅，也就是积分的输出范围
						 4300, -4300);
	P_PID_Parameter_Init(&CHASSIS_MOTOR_SPEED_pid, 15, 0.5, 0,
						 500,
						 //						  float max_error, float min_error,
						 //                          float alpha,
						 16000, -16000,
						 16000, -16000); // Yaw_IMU_Angle_pid

#endif

	I_PID_Parameter_Init(&SHOOT_L_I_PID, 20, 0.5, 1,
						 7000, 7000, -7000,
						 0.5,
						 14000, -14000,
						 16000, -16000); //摩擦轮电机

	//
	I_PID_Parameter_Init(&SHOOT_R_I_PID, 20, 0.5, 1,
						 7000, 7000, -7000,
						 0.5,
						 14000, -14000,
						 16000, -14000); //摩擦轮电机

	I_PID_Parameter_Init(&Driver_I_PID, 13, 0.3, 1,
						 5000,		  //积分分离
						 5000, -5000, //最大误差
						 0.5,
						 5000, -5000,
						 10000, -10000); //摩擦轮电机

	/////////////////////////////////////////////////////////////////////自瞄YAW轴
	P_PID_Parameter_Init(&Yaw_EM_Angle_pid, 0.14, 0, 0,
						 0, //误差大于这个值就积分分离
						 //	float max_error, float min_error,
						 //                          float alpha,
						 0, 0,		 //积分限幅，也就是积分的输出范围
						 240, -240); // YAW轴自瞄PID,慢慢来

	P_PID_Parameter_Init(&Yaw_EM_Speed_pid, 500, 6, 0,
						 120,
						 //						  float max_error, float min_error,
						 //                          float alpha,
						 2000, -2000,
						 28000, -28000); // Yaw_IMU_Angle_pid

	/////////////////////////////////////////////////////////////////////自瞄PITCH轴
	P_PID_Parameter_Init(&PITCH_EM_Speed_pid, 180, 1, 0,
						 120, //误差大于这个值就积分分离
						 //	float max_error, float min_error,
						 //                          float alpha,
						 5000, -5000, //积分限幅，也就是积分的输出范围
						 28000, -28000);
	P_PID_Parameter_Init(&PITCH_EM_Angle_pid, 0.8, 0, 0,
						 0,
						 //						  float max_error, float min_error,
						 //                          float alpha,
						 0, 0,
						 80, -80); // Yaw_IMU_Angle_pid

	HAL_Delay(100);
	//			HWswitch_L			 = HAL_GPIO_ReadPin(GPIOA,HWswitch_1_Pin);
	//			HWswitch_R   		 = HAL_GPIO_ReadPin(GPIOA,HWswitch_2_Pin);
	HWswitch_L_last = HWswitch_L;
	HWswitch_R_last = HWswitch_R;
	//	yaw_trage_angle=GM6020s[0].readAngle;//上电角度初始化

	yaw_trage_angle = DJIC_IMU.total_yaw;
	PITCH_trage_angle = GM6020s[1].readAngle; //上电角度初始化
											  // pitch轴陀螺仪上电过零处理
	//!!!!!!!!!!!!!!!!!!!!!!!!!!!!!!!!!!!!!!!!!!!!!!!!!!!!!!!!!!!
	HAL_Delay(100);
	if (DJIC_IMU.pitch > 50 && DJIC_IMU.pitch_turnCounts == 0)
		DJIC_IMU.pitch_turnCounts = -1;

	imu_angle(); //去仿真做测试！！！  已做
	PITCH_trage_angle = PITCH_MIN_angle + 30;
	task_init_times++;
	CHASSIS_trage_angle = 9990000;

	EM_Ramp->Rate = 0.1;
	EM_Ramp->Absolute_Max = 50;
ext_power_heat_data.data.chassis_power_buffer=200;
	osThreadDef(Control, Robot_Control, RobotCtrl_Priority, 0, RobotCtrl_Size);
	RobotCtrl_Handle = osThreadCreate(osThread(Control), NULL);

	//	taskEXIT_CRITICAL(); //退出临界区

	vTaskDelete(NULL);

	/* Infinite loop */
	for (;;)
	{
		task_init_times++;
		//		vTaskDelayUntil(&xLastWakeTime, TimeIncrement);

		HAL_Delay(100);
	}
  /* USER CODE END init_task */
}

void Can2_Reive(void const * argument)
{
  /* USER CODE BEGIN Can2_Reive */
	// CAN2接收队列发送的数据的结构体变量
	CAN_Rx_TypeDef CAN2_Rx_Structure;
	//出队的状态变量
	BaseType_t ExitQueue_Status;
	//		task_can2_times++;

	/* Infinite loop */
	for (;;)
	{
		//死等队列有消息
		ExitQueue_Status = xQueueReceive(CAN2_Queue, &CAN2_Rx_Structure, portMAX_DELAY);
		//出队成功
		if (ExitQueue_Status == pdTRUE)
		{

			if (CAN2_Rx_Structure.CAN_RxMessage.StdId == DR16_R_ID)
			{
				DJI_C_DR16_getInfo(CAN2_Rx_Structure);
			}
			/*DJIC_IMU*/
			// IMU_Euler
			if (CAN2_Rx_Structure.CAN_RxMessage.StdId == DJI_C_Angle)
			{
				DJI_C_Euler_getInfo(CAN2_Rx_Structure);
			}
			// Gyro
			if (CAN2_Rx_Structure.CAN_RxMessage.StdId == DJI_C_Gyro)
			{
				DJI_C_Gyro_getInfo(CAN2_Rx_Structure);
			}
		}
		Updata_Hand_Euler_Gyro_Data();
		//		task_can2_times++;
		//    osDelay(1);
	}
  /* USER CODE END Can2_Reive */
}
int test_3_moto=0;
/* USER CODE BEGIN Application */
void Robot_Control(void const *argument)
{
	/* USER CODE BEGIN RobotControl */
	portTickType xLastWakeTime;
	xLastWakeTime = xTaskGetTickCount();
	const TickType_t TimeIncrement = pdMS_TO_TICKS(3); //每1毫秒强制进入总控制
	CHASSIS.Absolute_Max=4000;
	CHASSIS.Rate=25;
	/* Infinite loop */
	for (;;)
	{
		task_controul_times++;
		// 7175  机械限位
		// 7160	大的是上边界     正值向上运动
		// 7130  软限位           只允许输出负值

		//目标角度只允许在6435-7125之间
		// 6430  软限位           只允许输出正值
		// 6400  小的是下边界	 负值向下运动

		cloud_control();

		if (GM6020s[1].totalAngle <= 6430 && send_to_pitch < 0)
			send_to_pitch = 0;
		if (GM6020s[1].totalAngle >= 7130 && send_to_pitch > 0)
			send_to_pitch = 0;
		if (DR16.rc.s_left == 2 || DR16.rc.s_left == 0) //失能保护
		{
			send_to_pitch = 0;
			send_to_yaw = 0;

			yaw_trage_angle = DJIC_IMU.total_yaw;
			//还不够，使能瞬间会抖一下，应该还要清楚I的累加，以后有时间再写
		}

		GM6020_SetVoltage(send_to_yaw, send_to_pitch, 0, 0); //云台  send_to_pitch
		Get_Encoder_Value(&Chassis_Encoder, &htim5);
		switch_change();
//		star_and_new();//弹道测试后取消注释
		CHASSIS_CONTROUL();

		shoot_control();

		driver_plate_control();

if(stop_CH_OP_BC_LESS==1)
{
//			send_to_chassis = 0;//弹道测试后取消注释

}

if(stop_CH_OP_BC_END==1)
{
//			send_to_chassis = 0;//弹道测试后取消注释

}
if(stop_chassic_output==1)
{
//			send_to_chassis = 0;//弹道测试后取消注释

}
		if (DR16.rc.s_left == 2 || DR16.rc.s_left == 0) //失能保护
		{
			CHASSIS_MOTOR_SPEED_pid.Integral=0;
			send_to_chassis = 0;
			send_to_SHOOT_R = 0;
			send_to_SHOOT_L = 0;
			send_to_driver = 0;
//			 cloud_enable=0;

		}
		M3508s1_setCurrent(0, 0, test_3_moto, send_to_chassis);
		vTaskDelayUntil(&xLastWakeTime, TimeIncrement);

		//			  	  HAL_Delay(100);
		//底盘控制执行
		//		Chassis_FUN.Chassis_Control();
		//		//云台控制执行
		//		Cloud_FUN.Cloud_Control();
		//		//攻击控制执行
		//		Attack_FUN.Attack_Processing();
		//
		//		//CAN发送数据给电机
		//		//云台
		//		GM6020_SetVoltage(Cloud.yaw_output, Cloud.pitch_output, 0, 0);
		//		//摩擦轮
		//		//M3508s1_setCurrent(Shoot.Shoot1->OutputCurrent,Shoot.Shoot2->OutputCurrent,0,0);
		//		//拨盘
		//		//M2006_setCurrent(0,0,M2006s[2].OutputCurrent,0);
		//		//底盘
		//		//M3508_setCurrent(0,0,0,Chassis.EM->OutputCurrent);
		//		//由于他们都是同个CAN1发送的
		//		M3508s1_setCurrent(Shoot.Shoot1->OutputCurrent,Shoot.Shoot2->OutputCurrent,M2006s[2].OutputCurrent,Chassis.EM->OutputCurrent);
	}

	/* USER CODE END RobotControl */
}

/* USER CODE END Application */

/************************ (C) COPYRIGHT STMicroelectronics *****END OF FILE****/
